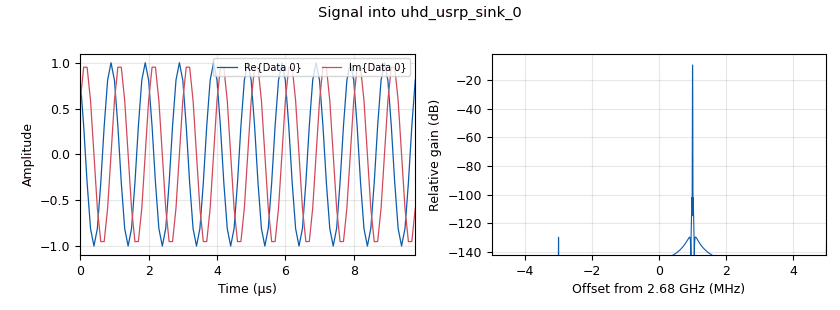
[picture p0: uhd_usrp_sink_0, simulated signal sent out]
options:
  parameters:
    generate_options: qt_gui
    id: usrp_calibration
    output_language: python
    title: Not titled yet
  states: {}

blocks:
- name: center_freq
  id: variable_qtgui_range
  parameters:
    start: 100e6
    step: 100e6
    stop: 6e9
    value: 100e6
    widget: counter
  states: {state: disabled}
- name: gain
  id: variable_qtgui_chooser
  parameters:
    label0: 40db
    label1: 60db
    label2: 70db
    label3: 80db
    label4: 89db
    num_opts: '5'
    option0: '40'
    option1: '60'
    option2: '70'
    option3: '80'
    option4: '89'
    type: real
    value: '40'
    widget: radio_buttons
  states: {state: disabled}
- name: gain
  id: variable_qtgui_range
  parameters:
    start: '10'
    step: '10'
    stop: '80'
    value: '10'
    widget: counter
  states: {}
- name: samp_rate
  id: variable
  parameters:
    value: 10e6
  states: {}
- name: analog_sig_source_x_0
  id: analog_sig_source_x
  parameters:
    amp: '1'
    freq: 1e6
    offset: '0'
    phase: '0'
    samp_rate: samp_rate
    type: complex
    waveform: analog.GR_SIN_WAVE
  states: {}
- name: uhd_usrp_sink_0
  id: uhd_usrp_sink
  parameters:
    ant0: '"TX/RX"'
    center_freq0: 2.68e9
    dev_addr: addr=192.168.0.11
    gain0: gain
    len_tag_name: ''
    samp_rate: samp_rate
    sync: none
    type: fc32
  states: {}

connections:
- [analog_sig_source_x_0, '0', uhd_usrp_sink_0, '0']

metadata:
  file_format: 1
